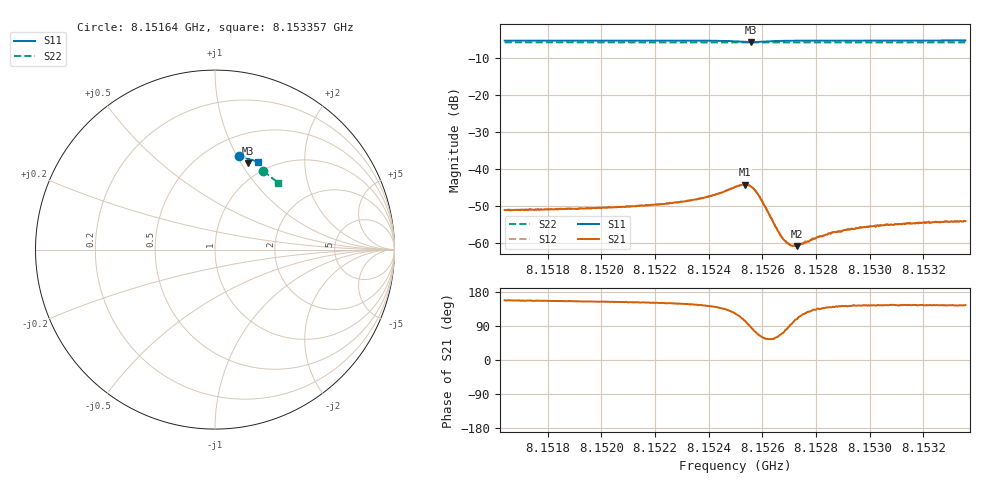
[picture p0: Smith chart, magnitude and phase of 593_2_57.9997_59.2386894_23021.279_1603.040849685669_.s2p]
#  HZ  S  RI  R  50.00
! Rohde & Schwarz Vector Network Analyzer
! Rohde-Schwarz,ZNB20-2Port,1311601062101988,3.16
! Created: UTC 3/21/2024, 1:16:54 AM
! freq[Hz]  re:S11  im:S11  re:S21  im:S21  re:S12  im:S12  re:S22  im:S22
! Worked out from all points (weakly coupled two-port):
!   401 points, 8.15164 GHz to 8.153357 GHz, reference 50 ohm
!   highest |S21| = -44.13 dB at 8.152537 GHz (marker M1); lowest = -60.7 dB at 8.15273 GHz (marker M2)
!   lowest |S11| = -5.8 dB at 8.152558 GHz (marker M3), VSWR 3.13, Z = 40.9 + j53.7 ohm
!   |S11| at or under -10 dB: nowhere
!   |S22| runs from -5.8 to -5.8 dB; largest |S21 - S12| = 0.00013
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8.1516397e9  0.1334 0.5233  -0.00261 0.00107  -0.00257 0.00112  0.2679 0.4367
8.1519273e9  0.1534 0.5182  -0.00268 0.00128  -0.00268 0.00131  0.2831 0.4266
8.1522149e9  0.1742 0.5114  -0.0029 0.00165  -0.00292 0.00168  0.2981 0.4157
8.1523136e9  0.1821 0.5083  -0.00312 0.00197  -0.00311 0.00201  0.3032 0.4119
8.152378e9  0.1877 0.5052  -0.0033 0.00239  -0.00334 0.00245  0.3065 0.4092
8.1524381e9  0.1933 0.5005  -0.00348 0.00314  -0.00349 0.00319  0.3096 0.4067
8.1524982e9  0.197 0.4909  -0.00312 0.0048  -0.00309 0.00487  0.3124 0.4043
8.1525369e9  0.192 0.4822  -0.00132 0.00607  -0.00124 0.00614  0.3138 0.4023
8.1525583e9  0.1848 0.4815  0.000448 0.00578  0.000468 0.00584  0.3145 0.4016
8.1525755e9  0.1802 0.4847  0.00144 0.00483  0.00154 0.00488  0.3153 0.4012
8.1525927e9  0.1784 0.4897  0.00183 0.00362  0.0019 0.00363  0.3161 0.4006
8.1526485e9  0.1843 0.4999  0.000878 0.00145  0.000905 0.00144  0.3192 0.3988
8.1526742e9  0.1881 0.5013  0.000384 0.00112  0.000451 0.00112  0.3205 0.3977
8.1527e9  0.1915 0.502  2.55e-05 0.000986  4.93e-05 0.000965  0.3217 0.3969
8.1527129e9  0.193 0.5019  -0.000127 0.000914  -0.000104 0.000933  0.3225 0.3963
8.15273e9  0.1951 0.5019  -0.000285 0.000872  -0.000311 0.000864  0.3232 0.3956
8.1527859e9  0.2005 0.5011  -0.000733 0.000855  -0.000762 0.000889  0.3261 0.3932
8.1528588e9  0.2068 0.4995  -0.00106 0.000918  -0.00107 0.000871  0.3297 0.3901
8.1529146e9  0.2112 0.4981  -0.00121 0.000952  -0.0012 0.000921  0.3324 0.3877
8.1530735e9  0.2226 0.4939  -0.00146 0.00101  -0.00145 0.00103  0.3398 0.3809
8.1532151e9  0.2322 0.4898  -0.00155 0.00112  -0.00156 0.00114  0.3463 0.3748
8.1533568e9  0.2414 0.4857  -0.00163 0.00114  -0.00163 0.0012  0.3527 0.3685
